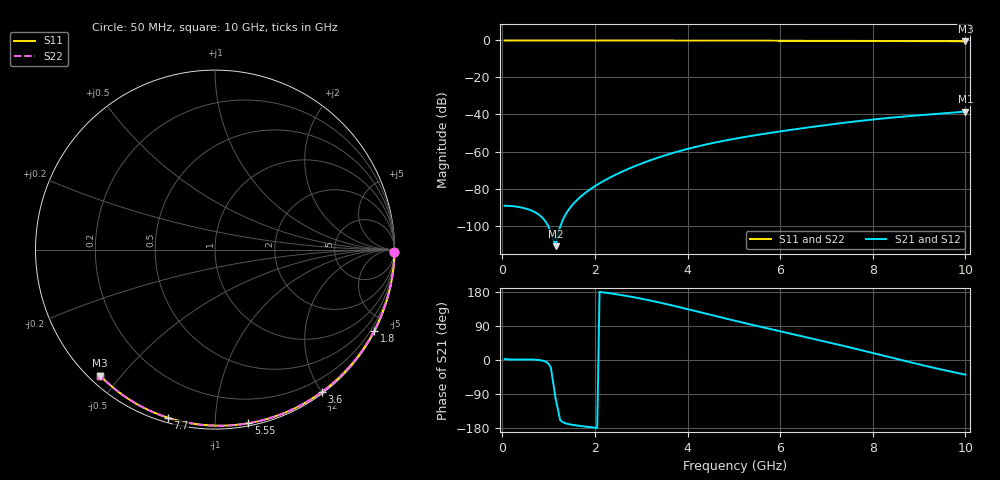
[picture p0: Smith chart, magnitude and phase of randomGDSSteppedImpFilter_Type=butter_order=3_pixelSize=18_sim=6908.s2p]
! freq	dB(S11)	phase(S11)	dB(S12)	phase(S12)
!  dB(S21)	phase(S21)	dB(S22)	phase(S22)
!S-par simulation data
#  GHz  S  DB  R 50
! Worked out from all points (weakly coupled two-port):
!   200 points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, 50 MHz to 10 GHz, reference 50 ohm
!   highest |S21| = -38.42 dB at 10 GHz (marker M1); lowest = -111.1 dB at 1.15 GHz (marker M2)
!   lowest |S11| = -0.4 dB at 10 GHz (marker M3), VSWR 38.86, Z = 1.54 - j22.1 ohm
!   |S11| at or under -10 dB: nowhere
!   |S22| runs from -0.4 to 0.0 dB; largest |S21 - S12| = 0
!   S11 on the Smith chart (normalised r, x): 50 MHz: open; 1.8 GHz: 0.04, -4.15; 3.6 GHz: 0.02, -2.01; 5.55 GHz: 0.02, -1.21; 7.7 GHz: 0.02, -0.76; 10 GHz: 0.03, -0.44
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0.05  -0.00 -0.8  -89.28 2.7  -89.28 2.7  -0.00 -0.8
0.6  -0.01 -9.1  -91.61 1.4  -91.61 1.4  -0.01 -9.1
1.15  -0.02 -17.4  -111.14 -101.2  -111.14 -101.2  -0.02 -17.4
1.75  -0.03 -26.4  -83.19 -175.0  -83.19 -175.0  -0.03 -26.4
1.8  -0.03 -27.1  -82.20 -175.7  -82.20 -175.7  -0.03 -27.1
1.9  -0.04 -28.6  -80.38 -177.2  -80.38 -177.2  -0.04 -28.6
1.95  -0.04 -29.3  -79.54 -177.9  -79.54 -177.9  -0.04 -29.3
2.25  -0.04 -33.7  -75.05 177.3  -75.05 177.3  -0.04 -33.7
2.55  -0.05 -38.1  -71.30 171.8  -71.30 171.8  -0.05 -38.1
2.95  -0.06 -43.8  -67.04 163.0  -67.04 163.0  -0.06 -43.8
3.4  -0.07 -50.2  -62.99 151.5  -62.99 151.5  -0.07 -50.2
3.6  -0.07 -53.0  -61.41 145.9  -61.41 145.9  -0.07 -53.0
3.9  -0.08 -57.1  -59.26 137.2  -59.26 137.2  -0.08 -57.1
4.3  -0.09 -62.6  -56.76 125.2  -56.76 125.2  -0.09 -62.6
5.05  -0.11 -72.6  -52.95 102.8  -52.95 102.8  -0.11 -72.6
5.55  -0.13 -79.1  -50.85 88.4  -50.85 88.4  -0.13 -79.1
6.1  -0.15 -86.1  -48.76 73.1  -48.76 73.1  -0.15 -86.1
6.7  -0.18 -93.6  -46.67 56.4  -46.67 56.4  -0.18 -93.6
7.7  -0.24 -105.7  -43.54 27.5  -43.54 27.5  -0.24 -105.7
8.35  -0.29 -113.3  -41.84 7.8  -41.84 7.8  -0.29 -113.3
9.15  -0.36 -122.6  -40.13 -15.9  -40.13 -15.9  -0.36 -122.6
10  -0.45 -132.3  -38.42 -38.7  -38.42 -38.7  -0.45 -132.3
